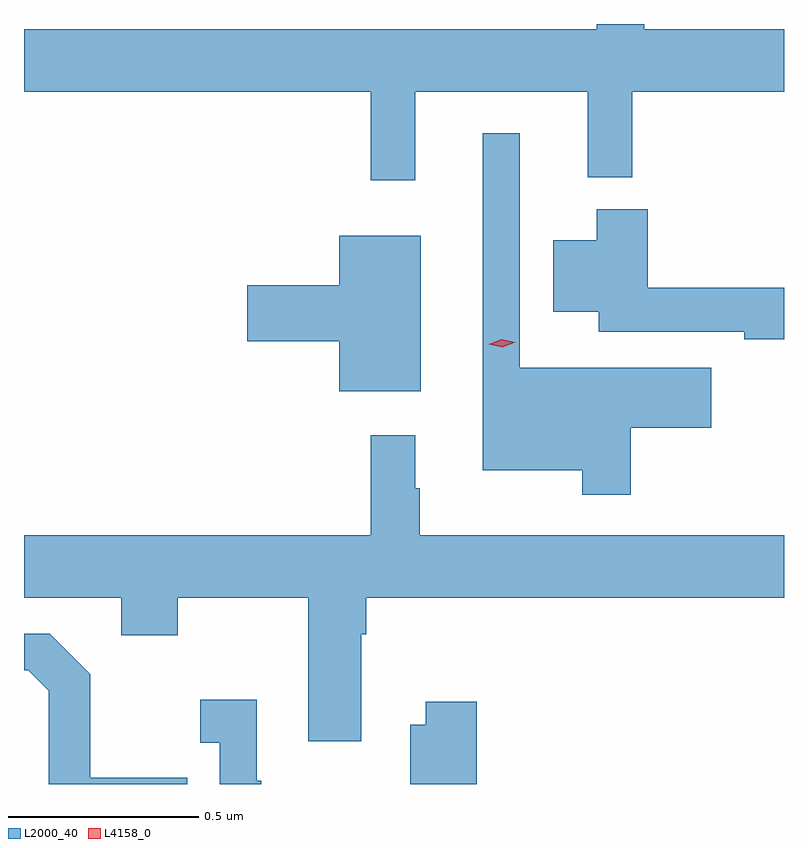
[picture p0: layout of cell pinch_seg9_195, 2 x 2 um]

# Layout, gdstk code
import gdstk
lib = gdstk.Library(unit=1e-6, precision=1e-09)
def P(c, l, *ps):  # polygons
    for p in ps: c.add(gdstk.Polygon(p, *l))
L2000_40 = (2000, 40)
L4158_0 = (4158, 0)

pinch_seg9_195 = lib.new_cell('pinch_seg9_195')
P(pinch_seg9_195, L2000_40, [(641.747,1227.056),(642.2,1227.056),(642.2,1226.831),(642.317,1226.831),(642.317,1227.056),(642.717,1227.056),(642.717,1227.22),(642.349,1227.22),(642.349,1227.234),(642.224,1227.234),(642.224,1227.22),(640.717,1227.22),(640.717,1227.056),(641.629,1227.056),(641.629,1226.823),(641.747,1226.823)],
  [(642.314,1226.171),(642.526,1226.171),(642.526,1226.329),(642.021,1226.329),(642.021,1226.947),(641.924,1226.947),(641.924,1226.06),(642.186,1226.06),(642.186,1225.995),(642.314,1225.995)],
  [(642.717,1226.54),(642.359,1226.54),(642.359,1226.746),(642.224,1226.746),(642.224,1226.665),(642.11,1226.665),(642.11,1226.477),(642.23,1226.477),(642.23,1226.424),(642.613,1226.424),(642.613,1226.404),(642.717,1226.404)],
  [(641.761,1226.677),(641.546,1226.677),(641.546,1226.546),(641.304,1226.546),(641.304,1226.399),(641.546,1226.399),(641.546,1226.267),(641.761,1226.267)],
  [(641.605,1225.628),(641.618,1225.628),(641.618,1225.724),(642.717,1225.724),(642.717,1225.888),(641.758,1225.888),(641.758,1226.012),(641.746,1226.012),(641.746,1226.152),(641.629,1226.152),(641.629,1225.888),(640.717,1225.888),(640.717,1225.724),(640.973,1225.724),(640.973,1225.625),(641.121,1225.625),(641.121,1225.724),(641.465,1225.724),(641.465,1225.347),(641.605,1225.347)],
  [(641.147,1225.251),(640.891,1225.251),(640.891,1225.523),(640.785,1225.629),(640.717,1225.629),(640.717,1225.533),(640.728,1225.533),(640.782,1225.479),(640.782,1225.234),(641.147,1225.234)],
  [(641.341,1225.243),(641.329,1225.243),(641.329,1225.456),(641.181,1225.456),(641.181,1225.343),(641.232,1225.343),(641.232,1225.234),(641.341,1225.234)],
  [(641.909,1225.45),(641.774,1225.45),(641.774,1225.39),(641.734,1225.39),(641.734,1225.234),(641.909,1225.234)])
P(pinch_seg9_195, L4158_0, [(641.976,1226.384),(641.94,1226.391),(641.94,1226.391),(641.94,1226.391),(641.974,1226.404),(642.01,1226.396),(642.011,1226.396),(642.01,1226.396)])

lib.write_gds('pinch_seg9_195.gds')
